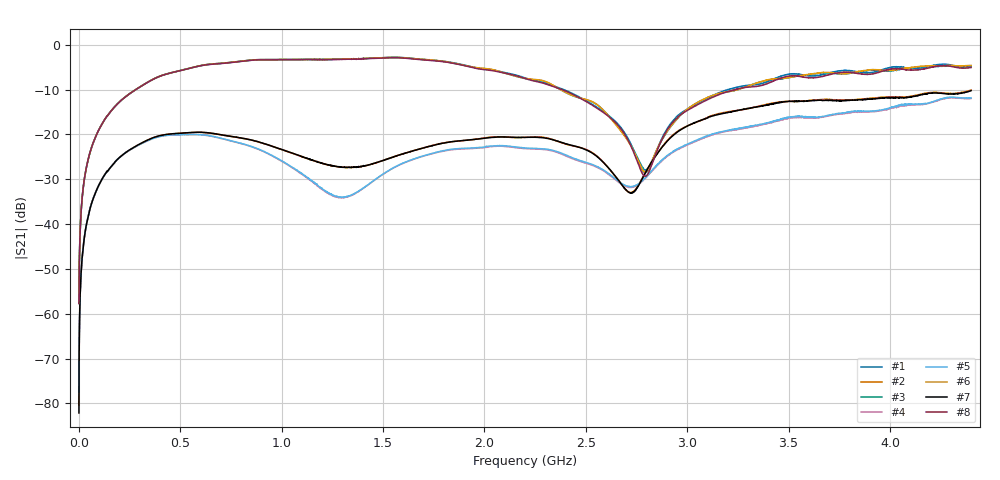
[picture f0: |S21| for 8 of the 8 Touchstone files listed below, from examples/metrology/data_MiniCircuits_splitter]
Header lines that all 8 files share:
!Created with skrf (http://scikit-rf.org).
# Hz S RI R 50.0
!freq ReS11 ImS11 ReS21 ImS21 ReS12 ImS12 ReS22 ImS22
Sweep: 1 MHz to 4.4 GHz
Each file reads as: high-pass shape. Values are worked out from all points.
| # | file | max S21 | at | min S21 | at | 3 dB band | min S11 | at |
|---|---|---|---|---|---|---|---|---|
| 1 | dut_raw_12.s2p | -2.77 dB | 1.56 GHz | -57.6 dB | 1 MHz | 497 MHz-2.058 GHz | -52.3 dB | 1.587 GHz |
| 2 | dut_raw_14.s2p | -10.10 dB | 4.4 GHz | -80.3 dB | 1 MHz | 3.418 GHz-4.4 GHz | -59.0 dB | 879 MHz |
| 3 | dut_raw_21.s2p | -2.81 dB | 1.556 GHz | -57.7 dB | 1 MHz | 495 MHz-2.063 GHz | -50.7 dB | 1.846 GHz |
| 4 | dut_raw_23.s2p | -11.80 dB | 4.31 GHz | -79.3 dB | 1 MHz | 3.944 GHz-4.4 GHz | -67.7 dB | 908 MHz |
| 5 | dut_raw_32.s2p | -11.65 dB | 4.295 GHz | -77.4 dB | 1 MHz | 3.941 GHz-4.4 GHz | -47.9 dB | 902 MHz |
| 6 | dut_raw_34.s2p | -2.79 dB | 1.551 GHz | -57.7 dB | 1 MHz | 496 MHz-2.063 GHz | -43.1 dB | 1.835 GHz |
| 7 | dut_raw_41.s2p | -10.23 dB | 4.4 GHz | -82.1 dB | 1 MHz | 3.416 GHz-4.4 GHz | -52.9 dB | 1.833 GHz |
| 8 | dut_raw_43.s2p | -2.87 dB | 1.55 GHz | -57.7 dB | 1 MHz | 490 MHz-2.052 GHz | -40.2 dB | 1.586 GHz |
